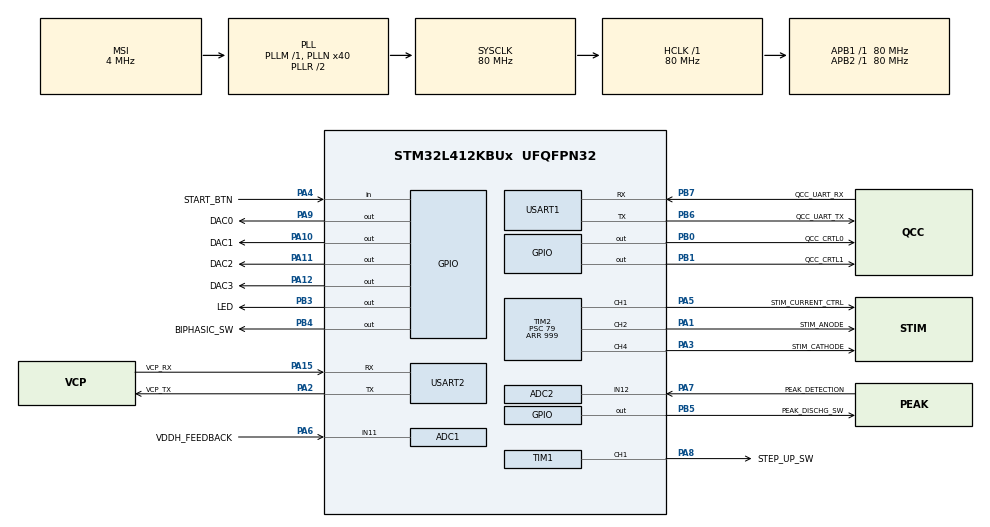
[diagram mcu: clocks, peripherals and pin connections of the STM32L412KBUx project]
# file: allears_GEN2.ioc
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ADC1.Channel-4\#ChannelRegularConversion=ADC_CHANNEL_11
ADC1.ClockPrescaler=ADC_CLOCK_ASYNC_DIV1
ADC1.ContinuousConvMode=ENABLE
ADC1.DMAContinuousRequests=DISABLE
ADC1.EOCSelection=ADC_EOC_SEQ_CONV
ADC1.ExternalTrigConv=ADC_SOFTWARE_START
ADC1.NbrOfConversion=1
ADC1.NbrOfConversionFlag=1
ADC1.Overrun=ADC_OVR_DATA_PRESERVED
ADC1.SamplingTime-4\#ChannelRegularConversion=ADC_SAMPLETIME_47CYCLES_5
ADC1.master=1
ADC2.Channel-0\#ChannelRegularConversion=ADC_CHANNEL_12
ADC2.ContinuousConvMode=ENABLE
ADC2.DMAContinuousRequests=ENABLE
ADC2.EOCSelection=ADC_EOC_SINGLE_CONV
ADC2.ExternalTrigConv=ADC_EXTERNALTRIG_T2_TRGO
ADC2.NbrOfConversionFlag=1
ADC2.OffsetNumber-0\#ChannelRegularConversion=ADC_OFFSET_NONE
ADC2.Rank-0\#ChannelRegularConversion=1
ADC2.SamplingTime-0\#ChannelRegularConversion=ADC_SAMPLETIME_47CYCLES_5
Dma.ADC1.2.Direction=DMA_PERIPH_TO_MEMORY
Dma.ADC1.2.Instance=DMA1_Channel1
Dma.ADC1.2.MemDataAlignment=DMA_MDATAALIGN_HALFWORD
Dma.ADC1.2.MemInc=DMA_MINC_ENABLE
Dma.ADC1.2.Mode=DMA_NORMAL
Dma.ADC1.2.PeriphDataAlignment=DMA_PDATAALIGN_HALFWORD
Dma.ADC1.2.PeriphInc=DMA_PINC_DISABLE
Dma.ADC1.2.Priority=DMA_PRIORITY_HIGH
Dma.ADC2.3.Direction=DMA_PERIPH_TO_MEMORY
Dma.ADC2.3.Instance=DMA1_Channel2
Dma.ADC2.3.MemDataAlignment=DMA_MDATAALIGN_HALFWORD
Dma.ADC2.3.MemInc=DMA_MINC_ENABLE
Dma.ADC2.3.Mode=DMA_CIRCULAR
Dma.ADC2.3.PeriphDataAlignment=DMA_PDATAALIGN_HALFWORD
Dma.ADC2.3.PeriphInc=DMA_PINC_DISABLE
Dma.ADC2.3.Priority=DMA_PRIORITY_LOW
Dma.Request0=TIM2_CH2/CH4
Dma.Request1=TIM2_CH1
Dma.Request2=ADC1
Dma.Request3=ADC2
Dma.TIM2_CH1.1.Direction=DMA_MEMORY_TO_PERIPH
Dma.TIM2_CH1.1.Instance=DMA1_Channel5
Dma.TIM2_CH1.1.MemDataAlignment=DMA_MDATAALIGN_WORD
Dma.TIM2_CH1.1.MemInc=DMA_MINC_ENABLE
Dma.TIM2_CH1.1.Mode=DMA_CIRCULAR
Dma.TIM2_CH1.1.PeriphDataAlignment=DMA_PDATAALIGN_WORD
Dma.TIM2_CH1.1.PeriphInc=DMA_PINC_DISABLE
Dma.TIM2_CH1.1.Priority=DMA_PRIORITY_LOW
Dma.TIM2_CH2/CH4.0.Direction=DMA_MEMORY_TO_PERIPH
Dma.TIM2_CH2/CH4.0.Instance=DMA1_Channel7
Dma.TIM2_CH2/CH4.0.MemDataAlignment=DMA_MDATAALIGN_WORD
Dma.TIM2_CH2/CH4.0.MemInc=DMA_MINC_ENABLE
Dma.TIM2_CH2/CH4.0.Mode=DMA_CIRCULAR
Dma.TIM2_CH2/CH4.0.PeriphDataAlignment=DMA_PDATAALIGN_WORD
Dma.TIM2_CH2/CH4.0.PeriphInc=DMA_PINC_DISABLE
Dma.TIM2_CH2/CH4.0.Priority=DMA_PRIORITY_LOW
Mcu.Family=STM32L4
Mcu.Name=STM32L412KBUx
Mcu.Package=UFQFPN32
NVIC.DMA1_Channel1_IRQn=true\:2\:0\:true\:false\:true\:false\:true\:true
NVIC.DMA1_Channel2_IRQn=true\:2\:0\:true\:false\:true\:false\:true\:true
NVIC.DMA1_Channel5_IRQn=true\:0\:0\:true\:false\:true\:false\:true\:true
NVIC.DMA1_Channel7_IRQn=true\:0\:0\:true\:false\:true\:false\:true\:true
NVIC.PriorityGroup=NVIC_PRIORITYGROUP_4
NVIC.TIM1_UP_TIM16_IRQn=true\:2\:0\:true\:false\:true\:true\:true\:true
NVIC.TIM2_IRQn=true\:2\:0\:true\:false\:true\:true\:true\:true
NVIC.USART1_IRQn=true\:0\:0\:false\:false\:true\:true\:true\:true
NVIC.USART2_IRQn=true\:0\:0\:false\:false\:true\:true\:true\:true
PA0-CK_IN.Mode=SYS_WakeUp0
PA0-CK_IN.Signal=SYS_WKUP1
PA1.GPIO_Label=STIM_ANODE
PA1.GPIO_PuPd=GPIO_NOPULL
PA1.Signal=S_TIM2_CH2
PA10.GPIO_Label=DAC1
PA10.Signal=GPIO_Output
PA11.GPIO_Label=DAC2
PA11.Signal=GPIO_Output
PA12.GPIO_Label=DAC3
PA12.Signal=GPIO_Output
PA13\ (JTMS/SWDIO).GPIO_Label=SWDIO
PA13\ (JTMS/SWDIO).Mode=Serial_Wire
PA13\ (JTMS/SWDIO).Signal=SYS_JTMS-SWDIO
PA14\ (JTCK/SWCLK).GPIO_Label=SWCLK
PA14\ (JTCK/SWCLK).Mode=Serial_Wire
PA14\ (JTCK/SWCLK).Signal=SYS_JTCK-SWCLK
PA15\ (JTDI).GPIO_Label=VCP_RX
PA15\ (JTDI).Mode=Asynchronous
PA15\ (JTDI).Signal=USART2_RX
PA2.GPIO_Label=VCP_TX
PA2.Mode=Asynchronous
PA2.Signal=USART2_TX
PA3.GPIO_Label=STIM_CATHODE
PA3.GPIO_PuPd=GPIO_NOPULL
PA3.Signal=S_TIM2_CH4
PA4.GPIO_Label=START_BTN
PA4.GPIO_PuPd=GPIO_PULLUP
PA4.Signal=GPIO_Input
PA5.GPIO_Label=STIM_CURRENT_CTRL
PA5.GPIO_PuPd=GPIO_NOPULL
PA5.Signal=S_TIM2_CH1
PA6.GPIO_Label=VDDH_FEEDBACK
PA6.GPIO_Mode=GPIO_MODE_ANALOG_ADC_CONTROL
PA6.GPIO_PuPd=GPIO_NOPULL
PA6.Signal=ADCx_IN11
PA7.GPIO_Label=PEAK_DETECTION
PA7.Signal=ADCx_IN12
PA8.GPIO_Label=STEP_UP_SW
PA8.Signal=S_TIM1_CH1
PA9.GPIO_Label=DAC0
PA9.Signal=GPIO_Output
PB0.GPIO_Label=QCC_CRTL0
PB0.Signal=GPIO_Output
PB1.GPIO_Label=QCC_CRTL1
PB1.Signal=GPIO_Output
PB3\ (JTDO/TRACESWO).GPIO_Label=LED
PB3\ (JTDO/TRACESWO).Signal=GPIO_Output
PB4\ (NJTRST).GPIO_Label=BIPHASIC_SW
PB4\ (NJTRST).Signal=GPIO_Output
PB5.GPIO_Label=PEAK_DISCHG_SW
PB5.Signal=GPIO_Output
PB6.GPIO_Label=QCC_UART_TX
PB6.Mode=Asynchronous
PB6.Signal=USART1_TX
PB7.GPIO_Label=QCC_UART_RX
PB7.Mode=Asynchronous
PB7.Signal=USART1_RX
PC14-OSC32_IN\ (PC14).Mode=LSE-External-Oscillator
PC14-OSC32_IN\ (PC14).Signal=RCC_OSC32_IN
PC15-OSC32_OUT\ (PC15).Mode=LSE-External-Oscillator
PC15-OSC32_OUT\ (PC15).Signal=RCC_OSC32_OUT
ProjectManager.HeapSize=0x800
ProjectManager.StackSize=0x800
ProjectManager.TargetToolchain=STM32CubeIDE
RCC.ADCFreq_Value=80000000
RCC.AHBFreq_Value=80000000
RCC.APB1Freq_Value=80000000
RCC.APB1TimFreq_Value=80000000
RCC.APB2Freq_Value=80000000
RCC.APB2TimFreq_Value=80000000
RCC.CortexFreq_Value=80000000
RCC.FLatency=FLASH_LATENCY_4
RCC.HCLKFreq_Value=80000000
RCC.HSE_VALUE=8000000
RCC.HSI48_VALUE=48000000
RCC.HSICalibrationValue=16
RCC.HSI_VALUE=16000000
RCC.LSE_Drive_Capability=RCC_LSEDRIVE_LOW
RCC.MSI_VALUE=4000000
RCC.PLLN=40
RCC.SYSCLKFreq_VALUE=80000000
RCC.SYSCLKSource=RCC_SYSCLKSOURCE_PLLCLK
RCC.USBFreq_Value=4000000
RCC.VCOOutputFreq_Value=160000000
SH.ADCx_IN11.0=ADC1_IN11,IN11-Single-Ended
SH.ADCx_IN12.0=ADC2_IN12,IN12-Single-Ended
SH.S_TIM1_CH1.0=TIM1_CH1,PWM Generation1 CH1
SH.S_TIM2_CH1.0=TIM2_CH1,Output Compare1 CH1
SH.S_TIM2_CH2.0=TIM2_CH2,PWM Generation2 CH2
SH.S_TIM2_CH4.0=TIM2_CH4,Output Compare4 CH4
TIM1.AutoReloadPreload=TIM_AUTORELOAD_PRELOAD_ENABLE
TIM1.Channel-PWM\ Generation1\ CH1=TIM_CHANNEL_1
TIM1.Period=9999
TIM1.Prescaler=0
TIM1.Pulse-PWM\ Generation1\ CH1=1
TIM16.AutoReloadPreload=TIM_AUTORELOAD_PRELOAD_ENABLE
TIM16.Period=999
TIM16.Prescaler=79
TIM2.AutoReloadPreload=TIM_AUTORELOAD_PRELOAD_ENABLE
TIM2.Channel-Output\ Compare1\ CH1=TIM_CHANNEL_1
TIM2.Channel-Output\ Compare4\ CH4=TIM_CHANNEL_4
TIM2.Channel-PWM\ Generation2\ CH2=TIM_CHANNEL_2
TIM2.ClearInputSource=TIM_CLEARINPUTSOURCE_NONE
TIM2.OC1Preload=DISABLE
TIM2.OC2Preload_PWM=DISABLE
TIM2.OC4Preload=DISABLE
TIM2.OCMode_1=TIM_OCMODE_TOGGLE
TIM2.OCMode_4=TIM_OCMODE_TOGGLE
TIM2.OCPolarity_1=TIM_OCPOLARITY_HIGH
TIM2.OCPolarity_2=TIM_OCPOLARITY_HIGH
TIM2.OCPolarity_4=TIM_OCPOLARITY_HIGH
TIM2.Period=999
TIM2.Prescaler=79
TIM2.Pulse-Output\ Compare1\ CH1=5
TIM2.Pulse-Output\ Compare4\ CH4=1040
TIM2.Pulse-PWM\ Generation2\ CH2=1010
TIM2.TIM_MasterOutputTrigger=TIM_TRGO_UPDATE
USART1.VirtualMode-Asynchronous=VM_ASYNC
USART2.VirtualMode-Asynchronous=VM_ASYNC
VP_TIM16_VS_ClockSourceINT.Mode=Enable_Timer
board=NUCLEO-L412KB

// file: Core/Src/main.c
/* USER CODE BEGIN Header */
/**
 ******************************************************************************
 * @file           : main.c
 * @brief          : Main program body
 ******************************************************************************
 * @attention
 *
 * Copyright (c) 2022 STMicroelectronics.
 * All rights reserved.
 *
 * This software is licensed under terms that can be found in the LICENSE file
 * in the root directory of this software component.
 * If no LICENSE file comes with this software, it is provided AS-IS.
 *
 ******************************************************************************
 */
/* USER CODE END Header */
#include "main.h"

/* USER CODE BEGIN Includes */
#include <stdio.h>
#include <stdbool.h>

#include "echo_adc.h"
#include "echo_btn.h"
#include "echo_led.h"
#include "echo_schedule.h"
#include "echo_shell.h"
#include "echo_sys_common.h"
#include "echo_sys_fsm_state.h"
#include "echo_stim_setting.h"

/* USER CODE END Includes */

ADC_HandleTypeDef hadc1;
ADC_HandleTypeDef hadc2;
DMA_HandleTypeDef hdma_adc1;
DMA_HandleTypeDef hdma_adc2;

TIM_HandleTypeDef htim1;
TIM_HandleTypeDef htim2;
TIM_HandleTypeDef htim16;
DMA_HandleTypeDef hdma_tim2_ch2_ch4;
DMA_HandleTypeDef hdma_tim2_ch1;

UART_HandleTypeDef huart1;
UART_HandleTypeDef huart2;

void SystemClock_Config(void);
static void MX_GPIO_Init(void);
static void MX_DMA_Init(void);
static void MX_TIM1_Init(void);
static void MX_TIM2_Init(void);
static void MX_TIM16_Init(void);
static void MX_USART1_UART_Init(void);
static void MX_USART2_UART_Init(void);
static void MX_ADC1_Init(void);
static void MX_ADC2_Init(void);

int main(void)
{

	/* MCU Configuration--------------------------------------------------------*/

	/* Reset of all peripherals, Initializes the Flash interface and the Systick. */
	HAL_Init();

	/* Configure the system clock */
	SystemClock_Config();

	/* Initialize all configured peripherals */
	MX_GPIO_Init();
	MX_DMA_Init();
	MX_TIM1_Init();
	MX_TIM2_Init();
	MX_TIM16_Init();
	MX_USART1_UART_Init();
	MX_USART2_UART_Init();
	MX_ADC1_Init();
	MX_ADC2_Init();
	/* USER CODE BEGIN 2 */
	static uint32_t schdule_tick = 0;
	Echo_PCI_State_Init();
	//TIM1->CCR1 = VOLTAGE_STEP_TARGET_VALUE;
	//HAL_TIM_PWM_Start(&htim1, TIM_CHANNEL_1);
	/* USER CODE END 2 */

	/* Infinite loop */
	while (1)
	{

		/* USER CODE BEGIN 3 */

		Echo_Shell_CMD_Handle();
		if (HAL_GetTick() - schdule_tick >= ECHO_SCHED_HANDLE_PERIOD)
		{
			Echo_Sys_FSM_State_Handle();
			Echo_Btn_Handle();
			Echo_LED_Handle();
			Echo_ADC_Handle();
			Echo_Shell_Input_Print();
			schdule_tick = HAL_GetTick();
		}

		/*
		 GPIOB->ODR ^= LED_Pin;
		 HAL_Delay(25);
		 */

		/*
		 * POWER SLEEP MODE
		 * HAL_PWR_EnterSLEEPMode(PWR_MAINREGULATOR_ON, PWR_SLEEPENTRY_WFI);
		 */

	}
	/* USER CODE END 3 */
}

void SystemClock_Config(void)
{
	RCC_OscInitTypeDef RCC_OscInitStruct =
	{ 0 };
	RCC_ClkInitTypeDef RCC_ClkInitStruct =
	{ 0 };

	/** Configure the main internal regulator output voltage
	 */
	if (HAL_PWREx_ControlVoltageScaling(PWR_REGULATOR_VOLTAGE_SCALE1) != HAL_OK)
	{
		Error_Handler();
	}

	/** Configure LSE Drive Capability
	 */
	HAL_PWR_EnableBkUpAccess();
	__HAL_RCC_LSEDRIVE_CONFIG(RCC_LSEDRIVE_LOW);

	/** Initializes the RCC Oscillators according to the specified parameters
	 * in the RCC_OscInitTypeDef structure.
	 */
	RCC_OscInitStruct.OscillatorType = RCC_OSCILLATORTYPE_LSE
			| RCC_OSCILLATORTYPE_MSI;
	RCC_OscInitStruct.LSEState = RCC_LSE_ON;
	RCC_OscInitStruct.MSIState = RCC_MSI_ON;
	RCC_OscInitStruct.MSICalibrationValue = 0;
	RCC_OscInitStruct.MSIClockRange = RCC_MSIRANGE_6;
	RCC_OscInitStruct.PLL.PLLState = RCC_PLL_ON;
	RCC_OscInitStruct.PLL.PLLSource = RCC_PLLSOURCE_MSI;
	RCC_OscInitStruct.PLL.PLLM = 1;
	RCC_OscInitStruct.PLL.PLLN = 40;
	RCC_OscInitStruct.PLL.PLLQ = RCC_PLLQ_DIV2;
	RCC_OscInitStruct.PLL.PLLR = RCC_PLLR_DIV2;
	if (HAL_RCC_OscConfig(&RCC_OscInitStruct) != HAL_OK)
	{
		Error_Handler();
	}

	/** Initializes the CPU, AHB and APB buses clocks
	 */
	RCC_ClkInitStruct.ClockType = RCC_CLOCKTYPE_HCLK | RCC_CLOCKTYPE_SYSCLK
			| RCC_CLOCKTYPE_PCLK1 | RCC_CLOCKTYPE_PCLK2;
	RCC_ClkInitStruct.SYSCLKSource = RCC_SYSCLKSOURCE_PLLCLK;
	RCC_ClkInitStruct.AHBCLKDivider = RCC_SYSCLK_DIV1;
	RCC_ClkInitStruct.APB1CLKDivider = RCC_HCLK_DIV1;
	RCC_ClkInitStruct.APB2CLKDivider = RCC_HCLK_DIV1;

	if (HAL_RCC_ClockConfig(&RCC_ClkInitStruct, FLASH_LATENCY_4) != HAL_OK)
	{
		Error_Handler();
	}

	/** Enable MSI Auto calibration
	 */
	HAL_RCCEx_EnableMSIPLLMode();
}

static void MX_ADC1_Init(void)
{

	ADC_MultiModeTypeDef multimode =
	{ 0 };
	ADC_ChannelConfTypeDef sConfig =
	{ 0 };

	/** Common config
	 */
	hadc1.Instance = ADC1;
	hadc1.Init.ClockPrescaler = ADC_CLOCK_ASYNC_DIV1;
	hadc1.Init.Resolution = ADC_RESOLUTION_12B;
	hadc1.Init.DataAlign = ADC_DATAALIGN_RIGHT;
	hadc1.Init.ScanConvMode = ADC_SCAN_DISABLE;
	hadc1.Init.EOCSelection = ADC_EOC_SEQ_CONV;
	hadc1.Init.LowPowerAutoWait = DISABLE;
	hadc1.Init.ContinuousConvMode = ENABLE;
	hadc1.Init.NbrOfConversion = 1;
	hadc1.Init.DiscontinuousConvMode = DISABLE;
	hadc1.Init.ExternalTrigConv = ADC_SOFTWARE_START;
	hadc1.Init.ExternalTrigConvEdge = ADC_EXTERNALTRIGCONVEDGE_NONE;
	hadc1.Init.DMAContinuousRequests = DISABLE;
	hadc1.Init.Overrun = ADC_OVR_DATA_PRESERVED;
	hadc1.Init.OversamplingMode = DISABLE;
	if (HAL_ADC_Init(&hadc1) != HAL_OK)
	{
		Error_Handler();
	}

	/** Configure the ADC multi-mode
	 */
	multimode.Mode = ADC_MODE_INDEPENDENT;
	if (HAL_ADCEx_MultiModeConfigChannel(&hadc1, &multimode) != HAL_OK)
	{
		Error_Handler();
	}

	/** Configure Regular Channel
	 */
	sConfig.Channel = ADC_CHANNEL_11;
	sConfig.Rank = ADC_REGULAR_RANK_1;
	sConfig.SamplingTime = ADC_SAMPLETIME_47CYCLES_5;
	sConfig.SingleDiff = ADC_SINGLE_ENDED;
	sConfig.OffsetNumber = ADC_OFFSET_NONE;
	sConfig.Offset = 0;
	if (HAL_ADC_ConfigChannel(&hadc1, &sConfig) != HAL_OK)
	{
		Error_Handler();
	}

}

static void MX_ADC2_Init(void)
{

	ADC_ChannelConfTypeDef sConfig =
	{ 0 };

	/** Common config
	 */
	hadc2.Instance = ADC2;
	hadc2.Init.ClockPrescaler = ADC_CLOCK_ASYNC_DIV1;
	hadc2.Init.Resolution = ADC_RESOLUTION_12B;
	hadc2.Init.DataAlign = ADC_DATAALIGN_RIGHT;
	hadc2.Init.ScanConvMode = ADC_SCAN_DISABLE;
	hadc2.Init.EOCSelection = ADC_EOC_SINGLE_CONV;
	hadc2.Init.LowPowerAutoWait = DISABLE;
	hadc2.Init.ContinuousConvMode = ENABLE;
	hadc2.Init.NbrOfConversion = 1;
	hadc2.Init.DiscontinuousConvMode = DISABLE;
	hadc2.Init.ExternalTrigConv = ADC_EXTERNALTRIG_T2_TRGO;
	hadc2.Init.ExternalTrigConvEdge = ADC_EXTERNALTRIGCONVEDGE_RISING;
	hadc2.Init.DMAContinuousRequests = ENABLE;
	hadc2.Init.Overrun = ADC_OVR_DATA_PRESERVED;
	hadc2.Init.OversamplingMode = DISABLE;
	if (HAL_ADC_Init(&hadc2) != HAL_OK)
	{
		Error_Handler();
	}

	/** Configure Regular Channel
	 */
	sConfig.Channel = ADC_CHANNEL_12;
	sConfig.Rank = ADC_REGULAR_RANK_1;
	sConfig.SamplingTime = ADC_SAMPLETIME_47CYCLES_5;
	sConfig.SingleDiff = ADC_SINGLE_ENDED;
	sConfig.OffsetNumber = ADC_OFFSET_NONE;
	sConfig.Offset = 0;
	if (HAL_ADC_ConfigChannel(&hadc2, &sConfig) != HAL_OK)
	{
		Error_Handler();
	}

}

static void MX_TIM1_Init(void)
{

	TIM_MasterConfigTypeDef sMasterConfig =
	{ 0 };
	TIM_OC_InitTypeDef sConfigOC =
	{ 0 };
	TIM_BreakDeadTimeConfigTypeDef sBreakDeadTimeConfig =
	{ 0 };

	htim1.Instance = TIM1;
	htim1.Init.Prescaler = 0;
	htim1.Init.CounterMode = TIM_COUNTERMODE_UP;
	htim1.Init.Period = 9999;
	htim1.Init.ClockDivision = TIM_CLOCKDIVISION_DIV1;
	htim1.Init.RepetitionCounter = 0;
	htim1.Init.AutoReloadPreload = TIM_AUTORELOAD_PRELOAD_ENABLE;
	if (HAL_TIM_PWM_Init(&htim1) != HAL_OK)
	{
		Error_Handler();
	}
	sMasterConfig.MasterOutputTrigger = TIM_TRGO_RESET;
	sMasterConfig.MasterOutputTrigger2 = TIM_TRGO2_RESET;
	sMasterConfig.MasterSlaveMode = TIM_MASTERSLAVEMODE_DISABLE;
	if (HAL_TIMEx_MasterConfigSynchronization(&htim1, &sMasterConfig) != HAL_OK)
	{
		Error_Handler();
	}
	sConfigOC.OCMode = TIM_OCMODE_PWM1;
	sConfigOC.Pulse = 1;
	sConfigOC.OCPolarity = TIM_OCPOLARITY_HIGH;
	sConfigOC.OCNPolarity = TIM_OCNPOLARITY_HIGH;
	sConfigOC.OCFastMode = TIM_OCFAST_DISABLE;
	sConfigOC.OCIdleState = TIM_OCIDLESTATE_RESET;
	sConfigOC.OCNIdleState = TIM_OCNIDLESTATE_RESET;
	if (HAL_TIM_PWM_ConfigChannel(&htim1, &sConfigOC, TIM_CHANNEL_1) != HAL_OK)
	{
		Error_Handler();
	}
	sBreakDeadTimeConfig.OffStateRunMode = TIM_OSSR_DISABLE;
	sBreakDeadTimeConfig.OffStateIDLEMode = TIM_OSSI_DISABLE;
	sBreakDeadTimeConfig.LockLevel = TIM_LOCKLEVEL_OFF;
	sBreakDeadTimeConfig.DeadTime = 0;
	sBreakDeadTimeConfig.BreakState = TIM_BREAK_DISABLE;
	sBreakDeadTimeConfig.BreakPolarity = TIM_BREAKPOLARITY_HIGH;
	sBreakDeadTimeConfig.BreakFilter = 0;
	sBreakDeadTimeConfig.Break2State = TIM_BREAK2_DISABLE;
	sBreakDeadTimeConfig.Break2Polarity = TIM_BREAK2POLARITY_HIGH;
	sBreakDeadTimeConfig.Break2Filter = 0;
	sBreakDeadTimeConfig.AutomaticOutput = TIM_AUTOMATICOUTPUT_DISABLE;
	if (HAL_TIMEx_ConfigBreakDeadTime(&htim1, &sBreakDeadTimeConfig) != HAL_OK)
	{
		Error_Handler();
	}
	HAL_TIM_MspPostInit(&htim1);

}

static void MX_TIM2_Init(void)
{

	TIM_MasterConfigTypeDef sMasterConfig =
	{ 0 };
	TIM_OC_InitTypeDef sConfigOC =
	{ 0 };

	htim2.Instance = TIM2;
	htim2.Init.Prescaler = 79;
	htim2.Init.CounterMode = TIM_COUNTERMODE_UP;
	htim2.Init.Period = 999;
	htim2.Init.ClockDivision = TIM_CLOCKDIVISION_DIV1;
	htim2.Init.AutoReloadPreload = TIM_AUTORELOAD_PRELOAD_ENABLE;
	if (HAL_TIM_OC_Init(&htim2) != HAL_OK)
	{
		Error_Handler();
	}
	if (HAL_TIM_PWM_Init(&htim2) != HAL_OK)
	{
		Error_Handler();
	}
	sMasterConfig.MasterOutputTrigger = TIM_TRGO_UPDATE;
	sMasterConfig.MasterSlaveMode = TIM_MASTERSLAVEMODE_DISABLE;
	if (HAL_TIMEx_MasterConfigSynchronization(&htim2, &sMasterConfig) != HAL_OK)
	{
		Error_Handler();
	}
	sConfigOC.OCMode = TIM_OCMODE_TOGGLE;
	sConfigOC.Pulse = 5;
	sConfigOC.OCPolarity = TIM_OCPOLARITY_HIGH;
	sConfigOC.OCFastMode = TIM_OCFAST_DISABLE;
	if (HAL_TIM_OC_ConfigChannel(&htim2, &sConfigOC, TIM_CHANNEL_1) != HAL_OK)
	{
		Error_Handler();
	}
	sConfigOC.OCMode = TIM_OCMODE_PWM1;
	sConfigOC.Pulse = 1010;
	if (HAL_TIM_PWM_ConfigChannel(&htim2, &sConfigOC, TIM_CHANNEL_2) != HAL_OK)
	{
		Error_Handler();
	}
	__HAL_TIM_DISABLE_OCxPRELOAD(&htim2, TIM_CHANNEL_2);
	sConfigOC.OCMode = TIM_OCMODE_TOGGLE;
	sConfigOC.Pulse = 1040;
	if (HAL_TIM_OC_ConfigChannel(&htim2, &sConfigOC, TIM_CHANNEL_4) != HAL_OK)
	{
		Error_Handler();
	}
	HAL_TIM_MspPostInit(&htim2);

}

static void MX_TIM16_Init(void)
{

	htim16.Instance = TIM16;
	htim16.Init.Prescaler = 79;
	htim16.Init.CounterMode = TIM_COUNTERMODE_UP;
	htim16.Init.Period = 999;
	htim16.Init.ClockDivision = TIM_CLOCKDIVISION_DIV1;
	htim16.Init.RepetitionCounter = 0;
	htim16.Init.AutoReloadPreload = TIM_AUTORELOAD_PRELOAD_ENABLE;
	if (HAL_TIM_Base_Init(&htim16) != HAL_OK)
	{
		Error_Handler();
	}

}

static void MX_USART1_UART_Init(void)
{

	huart1.Instance = USART1;
	huart1.Init.BaudRate = 115200;
	huart1.Init.WordLength = UART_WORDLENGTH_8B;
	huart1.Init.StopBits = UART_STOPBITS_1;
	huart1.Init.Parity = UART_PARITY_NONE;
	huart1.Init.Mode = UART_MODE_TX_RX;
	huart1.Init.HwFlowCtl = UART_HWCONTROL_NONE;
	huart1.Init.OverSampling = UART_OVERSAMPLING_16;
	huart1.Init.OneBitSampling = UART_ONE_BIT_SAMPLE_DISABLE;
	huart1.AdvancedInit.AdvFeatureInit = UART_ADVFEATURE_NO_INIT;
	if (HAL_UART_Init(&huart1) != HAL_OK)
	{
		Error_Handler();
	}

}

static void MX_USART2_UART_Init(void)
{

	huart2.Instance = USART2;
	huart2.Init.BaudRate = 115200;
	huart2.Init.WordLength = UART_WORDLENGTH_8B;
	huart2.Init.StopBits = UART_STOPBITS_1;
	huart2.Init.Parity = UART_PARITY_NONE;
	huart2.Init.Mode = UART_MODE_TX_RX;
	huart2.Init.HwFlowCtl = UART_HWCONTROL_NONE;
	huart2.Init.OverSampling = UART_OVERSAMPLING_16;
	huart2.Init.OneBitSampling = UART_ONE_BIT_SAMPLE_DISABLE;
	huart2.AdvancedInit.AdvFeatureInit = UART_ADVFEATURE_NO_INIT;
	if (HAL_UART_Init(&huart2) != HAL_OK)
	{
		Error_Handler();
	}

}

static void MX_DMA_Init(void)
{

	/* DMA controller clock enable */
	__HAL_RCC_DMA1_CLK_ENABLE();

	/* DMA interrupt init */
	/* DMA1_Channel1_IRQn interrupt configuration */
	HAL_NVIC_SetPriority(DMA1_Channel1_IRQn, 2, 0);
	HAL_NVIC_EnableIRQ(DMA1_Channel1_IRQn);
	/* DMA1_Channel2_IRQn interrupt configuration */
	HAL_NVIC_SetPriority(DMA1_Channel2_IRQn, 2, 0);
	HAL_NVIC_EnableIRQ(DMA1_Channel2_IRQn);
	/* DMA1_Channel5_IRQn interrupt configuration */
	HAL_NVIC_SetPriority(DMA1_Channel5_IRQn, 0, 0);
	HAL_NVIC_EnableIRQ(DMA1_Channel5_IRQn);
	/* DMA1_Channel7_IRQn interrupt configuration */
	HAL_NVIC_SetPriority(DMA1_Channel7_IRQn, 0, 0);
	HAL_NVIC_EnableIRQ(DMA1_Channel7_IRQn);

}

static void MX_GPIO_Init(void)
{
	GPIO_InitTypeDef GPIO_InitStruct =
	{ 0 };

	/* GPIO Ports Clock Enable */
	__HAL_RCC_GPIOC_CLK_ENABLE();
	__HAL_RCC_GPIOA_CLK_ENABLE();
	__HAL_RCC_GPIOB_CLK_ENABLE();

	/*Configure GPIO pin Output Level */
	HAL_GPIO_WritePin(GPIOB,
			QCC_CRTL0_Pin | QCC_CRTL1_Pin | LED_Pin | BIPHASIC_SW_Pin
					| PEAK_DISCHG_SW_Pin, GPIO_PIN_RESET);

	/*Configure GPIO pin Output Level */
	HAL_GPIO_WritePin(GPIOA, DAC0_Pin | DAC1_Pin | DAC2_Pin | DAC3_Pin,
			GPIO_PIN_RESET);

	/*Configure GPIO pin : START_BTN_Pin */
	GPIO_InitStruct.Pin = START_BTN_Pin;
	GPIO_InitStruct.Mode = GPIO_MODE_INPUT;
	GPIO_InitStruct.Pull = GPIO_PULLUP;
	HAL_GPIO_Init(START_BTN_GPIO_Port, &GPIO_InitStruct);

	/*Configure GPIO pins : QCC_CRTL0_Pin QCC_CRTL1_Pin LED_Pin BIPHASIC_SW_Pin
	 PEAK_DISCHG_SW_Pin */
	GPIO_InitStruct.Pin = QCC_CRTL0_Pin | QCC_CRTL1_Pin | LED_Pin
			| BIPHASIC_SW_Pin | PEAK_DISCHG_SW_Pin;
	GPIO_InitStruct.Mode = GPIO_MODE_OUTPUT_PP;
	GPIO_InitStruct.Pull = GPIO_NOPULL;
	GPIO_InitStruct.Speed = GPIO_SPEED_FREQ_LOW;
	HAL_GPIO_Init(GPIOB, &GPIO_InitStruct);

	/*Configure GPIO pins : DAC0_Pin DAC1_Pin DAC2_Pin DAC3_Pin */
	GPIO_InitStruct.Pin = DAC0_Pin | DAC1_Pin | DAC2_Pin | DAC3_Pin;
	GPIO_InitStruct.Mode = GPIO_MODE_OUTPUT_PP;
	GPIO_InitStruct.Pull = GPIO_NOPULL;
	GPIO_InitStruct.Speed = GPIO_SPEED_FREQ_LOW;
	HAL_GPIO_Init(GPIOA, &GPIO_InitStruct);

}

void Error_Handler(void)
{
	__disable_irq();
	while (1)
	{
	}
}
